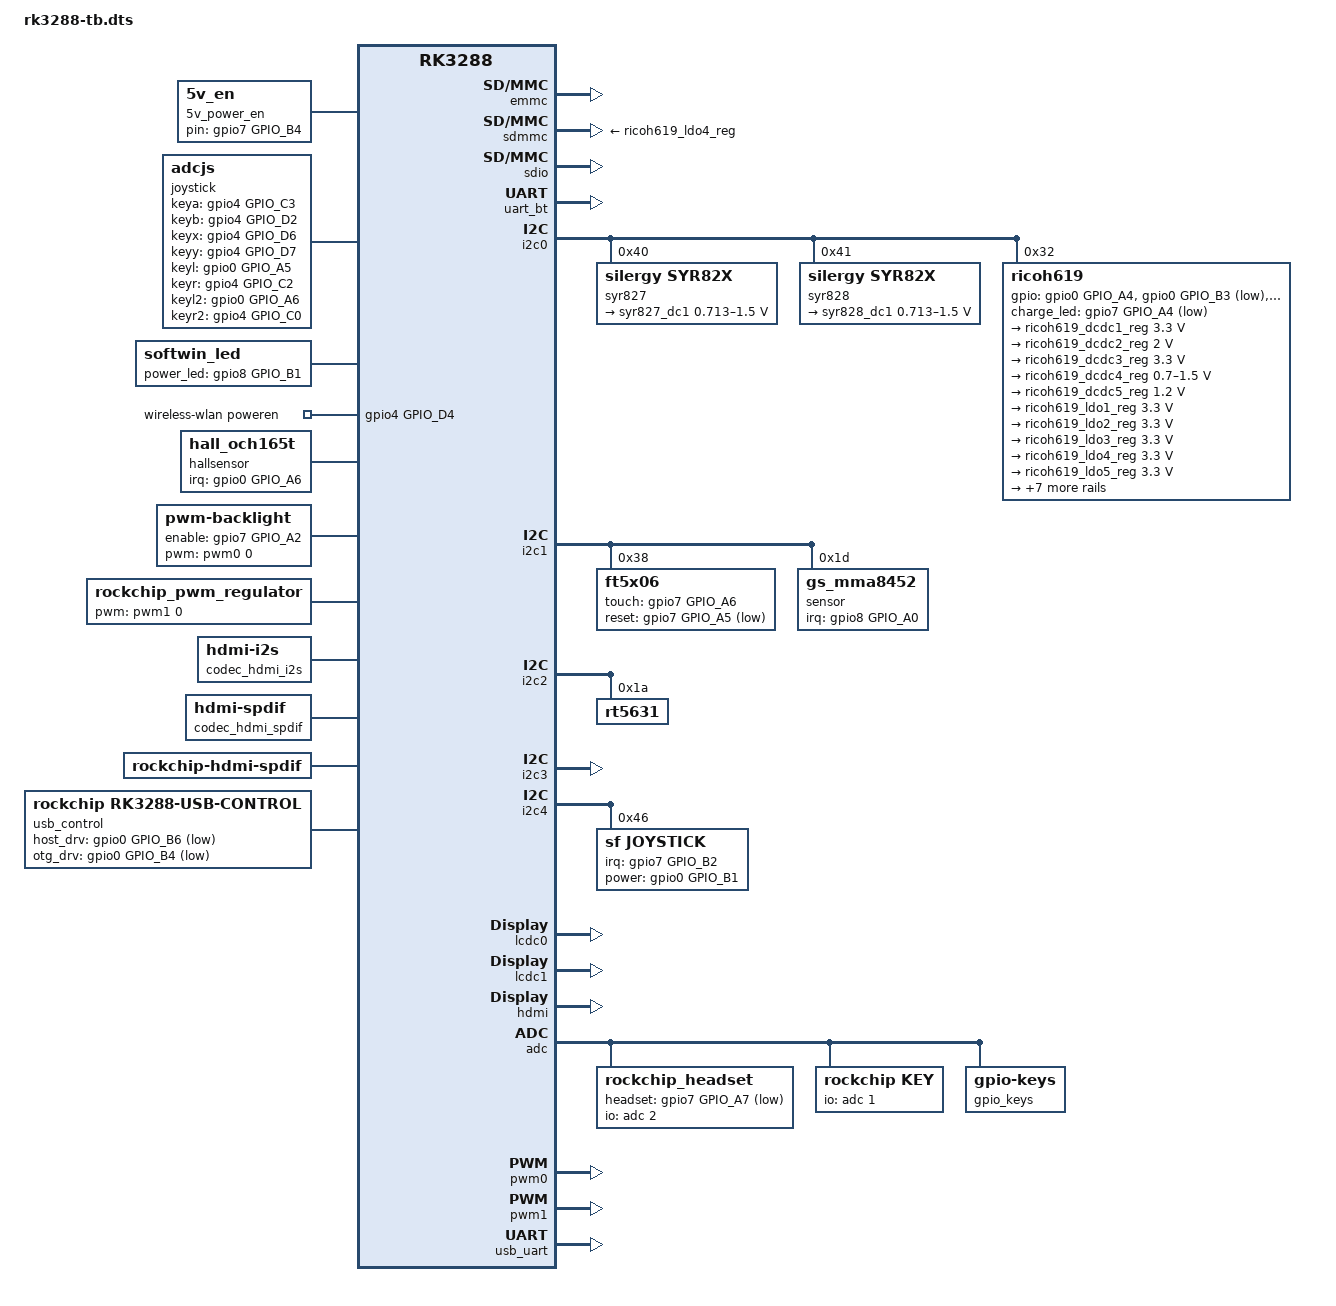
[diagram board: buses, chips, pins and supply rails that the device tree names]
/dts-v1/;

#include "rk3288.dtsi"
#include "lcd-wqxga-mipi.dtsi"

/ {
        fiq-debugger {
                status = "okay";
        };

        5v_power_en {
        compatible = "5v_en";
                5ven,pin =<&gpio7 GPIO_B4 GPIO_ACTIVE_HIGH>;    // 5v power for otg and hdmi
                status = "okay";
        };

        joystick {
        compatible = "adcjs";
                keya =<&gpio4 GPIO_C3 GPIO_ACTIVE_HIGH>;
                keyb =<&gpio4 GPIO_D2 GPIO_ACTIVE_HIGH>;
                keyx =<&gpio4 GPIO_D6 GPIO_ACTIVE_HIGH>;
                keyy =<&gpio4 GPIO_D7 GPIO_ACTIVE_HIGH>;
                keyl =<&gpio0 GPIO_A5 GPIO_ACTIVE_HIGH>;
                keyr =<&gpio4 GPIO_C2 GPIO_ACTIVE_HIGH>;
                keyl2 =<&gpio0 GPIO_A6 GPIO_ACTIVE_HIGH>;
                keyr2 =<&gpio4 GPIO_C0 GPIO_ACTIVE_HIGH>;
                left =<&gpio8 GPIO_A2 GPIO_ACTIVE_HIGH>;
                right =<&gpio8 GPIO_A1 GPIO_ACTIVE_HIGH>;
                up =<&gpio7 GPIO_B5 GPIO_ACTIVE_HIGH>;
                down =<&gpio8 GPIO_A3 GPIO_ACTIVE_HIGH>;
                keyl3 =<&gpio5 GPIO_B2 GPIO_ACTIVE_HIGH>;
                keyr3 =<&gpio5 GPIO_B3 GPIO_ACTIVE_HIGH>;
                start =<&gpio0 GPIO_A3 GPIO_ACTIVE_HIGH>;
                select =<&gpio0 GPIO_A7 GPIO_ACTIVE_HIGH>;
                //hot_key =<&gpio5 GPIO_B5 GPIO_ACTIVE_HIGH>;
                status = "okay";
        };

        led {
        compatible = "softwin_led";
                power_led =<&gpio8 GPIO_B1 GPIO_ACTIVE_HIGH>;
                status = "okay";
        };

    	wireless-wlan {
        compatible = "wlan-platdata";

        /* wifi_chip_type - wifi chip define
         * bcmwifi ==> like ap6xxx, rk90x;
         * rtkwifi ==> like rtl8188xx, rtl8723xx;
         * esp8089 ==> esp8089;
         * other   ==> for other wifi;
         */
        wifi_chip_type = "esp8089";

        sdio_vref = <3300>; //1800mv or 3300mv

        //keep_wifi_power_on;

        //power_ctrl_by_pmu;
        power_pmu_regulator = "vcc_wl";
        power_pmu_enable_level = <1>; //1->HIGH, 0->LOW

        //vref_ctrl_enable;
        //vref_ctrl_gpio = <&gpio0 GPIO_A2 GPIO_ACTIVE_HIGH>;
        vref_pmu_regulator = "vcc_wl";
        vref_pmu_enable_level = <1>; //1->HIGH, 0->LOW
        WIFI,poweren_gpio = <&gpio4 GPIO_D4 GPIO_ACTIVE_HIGH>;
        //WIFI,host_wake_irq = <&gpio4 GPIO_D6 GPIO_ACTIVE_HIGH>;
        //WIFI,reset_gpio = <&gpio0 GPIO_A2 GPIO_ACTIVE_LOW>;

        status = "okay";
    };

    wireless-bluetooth {
        compatible = "bluetooth-platdata";

        //wifi-bt-power-toggle;

        uart_rts_gpios = <&gpio4 GPIO_C3 GPIO_ACTIVE_LOW>;
        pinctrl-names = "default","rts_gpio";
        pinctrl-0 = <&uart0_rts>;
        pinctrl-1 = <&uart0_rts_gpio>;

        BT,power_gpio = <&gpio4 GPIO_D3 GPIO_ACTIVE_HIGH>;
        BT,reset_gpio = <&gpio4 GPIO_D5 GPIO_ACTIVE_HIGH>;
        BT,wake_gpio = <&gpio4 GPIO_D2 GPIO_ACTIVE_HIGH>;
        BT,wake_host_irq = <&gpio4 GPIO_D7 GPIO_ACTIVE_LOW>;

        status = "disabled";
    };

    hallsensor {
               compatible = "hall_och165t";
               type = <SENSOR_TYPE_HALL>;
               irq-gpio = <&gpio0 GPIO_A6 IRQ_TYPE_EDGE_BOTH>;
     };

	backlight {
		compatible = "pwm-backlight";
		pwms = <&pwm0 0 10000>;
                brightness-levels = <255 242 241 241 240 240
                     239 239 238 238 237 237 236 236 235 235 234 234 233 233 232 232 231 231 230 230 229 228 227 226 225 224 223 222 221 220
                     219 218 217 216 215 214 213 212 211 210 209 208 207 206 205 204 203 202 201 200
                     199 198 197 196 195 194 193 192 191 190 189 188 187 186 185 184 183 182 181 180
                     179 178 177 176 175 174 173 172 171 170 169 168 167 166 165 164 163 162 161 160
                     159 158 157 156 155 154 153 152 151 150 149 148 147 146 145 144 143 142 141 140
                     139 138 137 136 135 134 133 132 131 130 129 128 127 126 125 124 123 122 121 120
                     119 118 117 116 115 114 113 112 111 110 109 108 107 106 105 104 103 102 101 100
                     99 98 97 96 95 94 93 92 91 90 89 88 87 86 85 84 83 82 81 80 79 78 77 76 75 74 73 72 71 70
                     69 68 67 66 65 64 63 62 61 60 59 58 57 56 55 54 53 52 51 50 49 48 47 46 45 44 43 42 41 40
                     39 38 37 36 35 34 33 32 31 30 29 28 27 26 25 24 23 22 21 20 19 18 17 16 15 14 13 12 11 10
                     9 8 7 6 5 4 3 2 1 0>;
		default-brightness-level = <128>;
		enable-gpios = <&gpio7 GPIO_A2 GPIO_ACTIVE_HIGH>;
	};

	pwm_regulator {
		compatible = "rockchip_pwm_regulator";
		pwms = <&pwm1 0 2000>;
		rockchip,pwm_id= <1>;
		rockchip,pwm_voltage_map= <925000 950000 975000 1000000 1025000 1050000 1075000 1100000 1125000 1150000 1175000 1200000 1225000 1250000 1275000 1300000 1325000 1350000 1375000 1400000>;
		rockchip,pwm_voltage= <1000000>;
		rockchip,pwm_min_voltage= <925000>;
		rockchip,pwm_max_voltage= <1400000>;
		rockchip,pwm_suspend_voltage= <950000>;
		rockchip,pwm_coefficient= <475>;
		regulators {
			#address-cells = <1>;
			#size-cells = <0>;
			pwm_reg0: regulator@0 {
				regulator-compatible = "pwm_dcdc1";
				regulator-name= "vdd_logic";
				regulator-min-microvolt = <925000>;
				regulator-max-microvolt = <1400000>;
				regulator-always-on;
				regulator-boot-on;
			};
		};
	};

	codec_hdmi_i2s: codec-hdmi-i2s {
		compatible = "hdmi-i2s";
	};

	codec_hdmi_spdif: codec-hdmi-spdif {
		compatible = "hdmi-spdif";
	};

	rockchip-hdmi-i2s {
		compatible = "rockchip-hdmi-i2s";
		dais {
			dai0 {
				audio-codec = <&codec_hdmi_i2s>;
				i2s-controller = <&i2s>;
				format = "i2s";
				//continuous-clock;
				//bitclock-inversion;
				//frame-inversion;
				//bitclock-master;
				//frame-master;
			};
		};
	};
	
	rockchip-hdmi-spdif {
		compatible = "rockchip-hdmi-spdif";
		dais {
			dai0 {
				audio-codec = <&codec_hdmi_spdif>;
				i2s-controller = <&spdif>;
			};
		};
	};

	rockchip-rt5631 {
		compatible = "rockchip-rt5631";
		dais {
			dai0 {
				audio-codec = <&rt5631>;
				i2s-controller = <&i2s>;
				format = "i2s";
				//continuous-clock;
				//bitclock-inversion;
				//frame-inversion;
				//bitclock-master;
				//frame-master;
			};
		};
	};

/*	rockchip-rt3224 {
		compatible = "rockchip-rt3261";
		dais {
			dai0 {
				audio-codec = <&rt3261>;
				i2s-controller = <&i2s>;
				format = "i2s";
				//continuous-clock;
				//bitclock-inversion;
				//frame-inversion;
				//bitclock-master;
				//frame-master;
			};
			dai1 {
				audio-codec = <&rt3261>;
				i2s-controller = <&i2s>;
				format = "dsp_a";
				//continuous-clock;
				bitclock-inversion;
				//frame-inversion;
				//bitclock-master;
				//frame-master;
			};
		};
	};*/

	usb_control {
		compatible = "rockchip,rk3288-usb-control";

		host_drv_gpio = <&gpio0 GPIO_B6 GPIO_ACTIVE_LOW>;
		otg_drv_gpio = <&gpio0 GPIO_B4 GPIO_ACTIVE_LOW>;

		rockchip,remote_wakeup;
		rockchip,usb_irq_wakeup;
	};
};

&gmac {
	power_ctl_by = "gpio";	//"gpio" "pmu"
	power-gpio = <&gpio0 GPIO_A6 GPIO_ACTIVE_HIGH>;
//	power-pmu = "act_ldo"
	reset-gpio = <&gpio4 GPIO_A7 GPIO_ACTIVE_LOW>;
	status = "disabled";  //if want to use gmac, please set "okay"
};

&pinctrl {
	//used for init some gpio
	//init-gpios = <&gpio0 GPIO_A6 GPIO_ACTIVE_HIGH
	//		/*&gpio0 GPIO_C2 GPIO_ACTIVE_HIGH */
	//		/*&gpio7 GPIO_B7 GPIO_ACTIVE_LOW */>;
	
	gpio0_gpio {
			gpio0_c2: gpio0-c2 {
				rockchip,pins = <GPIO0_C2>;
				rockchip,pull = <VALUE_PULL_DOWN>;
			};

			//to add
		};
		
	gpio7_gpio {
			gpio7_b7: gpio7-b7 {
				rockchip,pins = <GPIO7_B7>;
				rockchip,pull = <VALUE_PULL_UP>;
			};

			//to add
		};
		
	//could add other pinctrl definition such as gpio

};

&nandc0 {
	status = "disabled"; // used nand set "disabled" ,used emmc set "okay"
};
&nandc1 {
	status = "disabled"; // used nand set "disabled" ,used emmc set "okay"
};   

&nandc0reg {
	status = "disabled"; // used nand set "disabled" ,used emmc set "okay"
};

&emmc {
	clock-frequency = <100000000>;
	clock-freq-min-max = <400000 100000000>;

        supports-highspeed;
	supports-emmc;
        bootpart-no-access;
	
	//supports-tSD;
	supports-DDR_MODE; //you should set the two value in your project. only close in RK3288-SDK board.
	//caps2-mmc-hs200;

        ignore-pm-notify;
	keep-power-in-suspend;
	
	//poll-hw-reset 
	status = "okay";
};
    
&sdmmc {
		clock-frequency = <50000000>;
		clock-freq-min-max = <400000 50000000>;
		supports-highspeed;
		supports-sd;
		broken-cd;
		card-detect-delay = <800>;

		ignore-pm-notify;
        	keep-power-in-suspend;
	
        	vmmc-supply = <&ricoh619_ldo4_reg>;
		status = "okay";
};
		
&sdio {
		clock-frequency = <50000000>;
		clock-freq-min-max = <200000 50000000>;
		supports-highspeed;
		supports-sdio;
		ignore-pm-notify;
		keep-power-in-suspend;
		//cap-sdio-irq;
		status = "okay";
};

&spi0 {
	status = "disable";
	max-freq = <48000000>;	
	/*
	spi_test@00 {
     		compatible = "rockchip,spi_test_bus0_cs0";
                reg = <0>;
                spi-max-frequency = <24000000>;
                //spi-cpha;
		//spi-cpol;
                poll_mode = <0>;
	        type = <0>;
		enable_dma = <0>;

	};

	spi_test@01 {
	        compatible = "rockchip,spi_test_bus0_cs1";
	        reg = <1>;
	        spi-max-frequency = <24000000>;
	        spi-cpha;
		spi-cpol;
	        poll_mode = <0>;
	        type = <0>;
		enable_dma = <0>;	        
	};
	*/
};

&spi1 {
	status = "disable";
	max-freq = <48000000>;
	/*
	spi_test@10 {
	        compatible = "rockchip,spi_test_bus1_cs0";
	        reg = <0>;
	        spi-max-frequency = <24000000>;
	        //spi-cpha;
		//spi-cpol;
	        poll_mode = <0>;
	        type = <0>;
		enable_dma = <0>;
	};

	*/
};

&spi2 {
	status = "disable";
	max-freq = <48000000>;
	/*
	spi_test@20 {
	        compatible = "rockchip,spi_test_bus2_cs0";
	        reg = <0>;
	        spi-max-frequency = <24000000>;
	        //spi-cpha;
		//spi-cpol;
	        poll_mode = <0>;
	        type = <0>;
		enable_dma = <0>;
	};

	spi_test@21 {
	        compatible = "rockchip,spi_test_bus2_cs1";
	        reg = <1>;
	        spi-max-frequency = <24000000>;
	        //spi-cpha;
		//spi-cpol;
	        poll_mode = <0>;
	        type = <0>;
		enable_dma = <0>;
	};
	*/
};

&uart_bt {
        status = "okay";
        dma-names = "!tx", "!rx";
        pinctrl-0 = <&uart0_xfer &uart0_cts>;
};

&i2c0 {
	status = "okay";
	rk808: rk808@1b {
		reg = <0x1b>;
		status = "disable";
	};
	rk818: rk818@1c {
		reg = <0x1c>;
		status = "disable";
 	};
		syr827: syr827@40 {
		compatible = "silergy,syr82x";
  	reg = <0x40>;
		status = "okay";
		regulators {
			#address-cells = <1>;
			#size-cells = <0>;	
			syr827_dc1: regulator@0 {
			reg = <0>;
			regulator-compatible = "syr82x_dcdc1";
			regulator-name = "vdd_arm";
			regulator-min-microvolt = <712500>;
			regulator-max-microvolt = <1500000>;
			regulator-always-on;
			regulator-boot-on;
			regulator-initial-mode = <0x2>;
			regulator-initial-state = <3>;
			regulator-state-mem {
				regulator-state-mode = <0x2>;
				regulator-state-disabled;
				regulator-state-uv = <900000>;
			};
		};
	   };
	};
	syr828: syr828@41 {
		compatible = "silergy,syr82x";
		reg = <0x41>;
		status = "okay";
		regulators {
			#address-cells = <1>;
			#size-cells = <0>;	
			syr828_dc1: regulator@0 {
			reg = <0>;
			regulator-compatible = "syr82x_dcdc1";
			regulator-name = "vdd_gpu";
			regulator-min-microvolt = <712500>;
			regulator-max-microvolt = <1500000>;
			regulator-always-on;
  		regulator-boot-on;
			regulator-initial-mode = <0x2>;
			regulator-initial-state = <3>;
			regulator-state-mem {
				regulator-state-mode = <0x2>;
				regulator-state-enabled;
				regulator-state-uv = <900000>;
			};	
		};
	   };
	};
	act8846: act8846@5a {
		reg = <0x5a>;
		status = "disable";
	};

	ricoh619: ricoh619@32 {
		reg = <0x32>;
 		status = "okay";
 	};
	bq24296: bq24296@6b {
		compatible = "ti,bq24296";
		reg = <0x6b>;
		gpios = <&gpio0 GPIO_A7 GPIO_ACTIVE_HIGH>,<&gpio0 GPIO_B0 GPIO_ACTIVE_HIGH>;
		bq24296,chg_current = <1000 2000 3000>;
		status = "disable";
	};
	
	bq27320: bq27320@55 {
		compatible = "ti,bq27320";
		reg = <0x55>;
	/*   gpios = <&gpio0 GPIO_A7 GPIO_ACTIVE_HIGH>; */
		status = "disable";
	};
/*
	CW2015@62 {
		compatible = "cw201x";
		reg = <0x62>;
		dc_det_gpio = <&gpio0 GPIO_B0 GPIO_ACTIVE_LOW>;
		bat_low_gpio = <&gpio0 GPIO_A7 GPIO_ACTIVE_LOW>;
		chg_ok_gpio = <&gpio0 GPIO_B1 GPIO_ACTIVE_HIGH>;
		bat_config_info = <0x15 0x42 0x60 0x59 0x52 0x58 0x4D 0x48 0x48 0x44 0x44 0x46 0x49 0x48 0x32
			0x24 0x20 0x17 0x13 0x0F 0x19 0x3E 0x51 0x45 0x08 0x76 0x0B 0x85 0x0E 0x1C 0x2E 0x3E 0x4D 0x52 0x52
			0x57 0x3D 0x1B 0x6A 0x2D 0x25 0x43 0x52 0x87 0x8F 0x91 0x94 0x52 0x82 0x8C 0x92 0x96 0xFF 0x7B 0xBB
			0xCB 0x2F 0x7D 0x72 0xA5 0xB5 0xC1 0x46 0xAE>;
		is_dc_charge = <1>;
		is_usb_charge = <0>;
	};
	
	rtc@51 {
		compatible = "rtc,hym8563";
		reg = <0x51>;
		irq_gpio = <&gpio0 GPIO_A4 IRQ_TYPE_EDGE_FALLING>;
	};
*/
};

&i2c1 {
	status = "okay";
	rtc@51 {
	        status = "disabled";
		compatible = "nxp,pcf8563";
		reg = <0x51>;
	};
        ts@40 {
                compatible = "gsl,1680e";
                reg = <0x40>;
                touch-gpio = <&gpio7 GPIO_A6 IRQ_TYPE_LEVEL_LOW>;
                reset-gpio = <&gpio7 GPIO_A5 GPIO_ACTIVE_LOW>;
                //power-gpio = <&gpio0 GPIO_C5 GPIO_ACTIVE_LOW>;
                max-x = <1280>;
                max-y = <800>;
	        status = "disabled";
       };
       ft5x06@38 {
                compatible = "ft5x06";
                reg = <0x38>;
                touch-gpio = <&gpio7 GPIO_A6 IRQ_TYPE_LEVEL_LOW>;
                reset-gpio = <&gpio7 GPIO_A5 GPIO_ACTIVE_LOW>;
                //power-gpio = <&gpio0 GPIO_C5 GPIO_ACTIVE_LOW>;
                max-x = <720>;
                max-y = <1280>;
       };
	
	sensor@1d {
		compatible = "gs_mma8452";
		reg = <0x1d>;
		type = <SENSOR_TYPE_ACCEL>;
		irq-gpio = <&gpio8 GPIO_A0 IRQ_TYPE_EDGE_FALLING>;
		irq_enable = <1>;
		poll_delay_ms = <30>;
		layout = <1>;
	};
	sensor@19 {
	        status = "disabled";
		compatible = "gs_lis3dh";
		reg = <0x19>;
		type = <SENSOR_TYPE_ACCEL>;
		irq-gpio = <&gpio0 GPIO_A0 IRQ_TYPE_LEVEL_LOW>;
		irq_enable = <1>;
		poll_delay_ms = <30>;
		layout = <1>;
	};
	sensor@0d {
	        status = "disabled";
		compatible = "ak8963";
		reg = <0x0d>;
		type = <SENSOR_TYPE_COMPASS>;
		irq-gpio = <&gpio8 GPIO_A2 IRQ_TYPE_EDGE_RISING>;
		irq_enable = <1>;
		poll_delay_ms = <30>;
		layout = <1>;
	};

	sensor@6b {
	        status = "disabled";
		compatible = "l3g20d_gyro";
		reg = <0x6b>;
		type = <SENSOR_TYPE_GYROSCOPE>;
		irq-gpio = <&gpio8 GPIO_A3 IRQ_TYPE_LEVEL_LOW>;
		irq_enable = <1>;
		poll_delay_ms = <30>;
		layout = <1>;
	};
	sensor@10 {
	      status = "disabled";
              compatible = "ls_cm3218";
              reg = <0x10>;
              type = <SENSOR_TYPE_LIGHT>;
              irq-gpio = <&gpio8 GPIO_A3 IRQ_TYPE_EDGE_FALLING>;              
              irq_enable = <1>;
              poll_delay_ms = <30>;
              layout = <1>;
       };

    nfc-bcm2079x@76 {
        compatible = "nfc-bcm2079x.ap6441";
        reg = <0x76>;
        en_gpio = <&gpio4 GPIO_D3 GPIO_ACTIVE_HIGH>;
        wake_gpio = <&gpio5 GPIO_C0 GPIO_ACTIVE_HIGH>;
        irq_gpio = <&gpio5 GPIO_B7 IRQ_TYPE_EDGE_RISING>;
        status = "disabled";
    };
    nfc-bcm2079x@77 {
        compatible = "nfc-bcm2079x.ap6493";
        reg = <0x77>;
        en_gpio = <&gpio4 GPIO_D3 GPIO_ACTIVE_HIGH>;
        wake_gpio = <&gpio5 GPIO_C0 GPIO_ACTIVE_HIGH>;
        irq_gpio = <&gpio5 GPIO_B7 IRQ_TYPE_EDGE_RISING>;
        status = "disabled";
    };
};

&i2c2 {
	status = "okay";
	rt5631: rt5631@1a {
		compatible = "rt5631";
		reg = <0x1a>;
	};
/*
	es8323: es8323@10 {
		compatible = "es8323";
		reg = <0x10>;
	};
	rt3261: rt3261@1c {
		compatible = "rt3261";
		reg = <0x1c>;
	//	codec-en-gpio = <0>;//sdk default high level
		spk-num= <2>;
		modem-input-mode = <1>;
		lout-to-modem_mode = <1>;
		spk-amplify = <2>;
		playback-if1-data_control = <0>;
		playback-if2-data_control = <0>;
	};
	rt5616: rt5616@1b {
		compatible = "rt5616";
		reg = <0x1b>;
	};*/
};

&i2c3 {
	status = "okay";
};

&i2c4 {
	status = "okay";
        sf@46 {
                compatible = "sf,joystick";
                reg = <0x46>;
                irq-gpio = <&gpio7 GPIO_B2 IRQ_TYPE_EDGE_FALLING>;
                power-gpio = <&gpio0 GPIO_B1 GPIO_ACTIVE_HIGH>;
        };

/*        ts@55 {
                compatible = "goodix,gt8xx";
                reg = <0x55>;
                touch-gpio = <&gpio7 GPIO_A6 IRQ_TYPE_LEVEL_LOW>;
                reset-gpio = <&gpio7 GPIO_A5 GPIO_ACTIVE_LOW>;
                //power-gpio = <&gpio0 GPIO_C5 GPIO_ACTIVE_LOW>;
                max-x = <1280>;
                max-y = <800>;
        };

	ts@01 {
		compatible = "ct,vtl_ts";
		reg = <0x01>;
		screen_max_x = <2048>;
		screen_max_y = <1536>;
		irq_gpio_number = <&gpio7 GPIO_A6 IRQ_TYPE_LEVEL_LOW>;
		rst_gpio_number = <&gpio7 GPIO_A5 GPIO_ACTIVE_HIGH>;
	};
*/
};

&i2c5 {
	status = "disable";
};

&fb {
	rockchip,disp-mode = <DUAL>;
	rockchip,uboot-logo-on = <1>;
};

&rk_screen {
	 display-timings = <&disp_timings>;
};

/*lcdc0 as PRMRY(LCD),lcdc1 as EXTEND(HDMI)*/
&lcdc0 {
	status = "okay";
	rockchip,mirror = <NO_MIRROR>;
	rockchip,cabc_mode = <0>;
	power_ctr: power_ctr {
		rockchip,debug = <0>;
/*
		lcd_en:lcd_en {
			rockchip,power_type = <GPIO>;
			gpios = <&gpio8 GPIO_B0 GPIO_ACTIVE_LOW>;
			rockchip,delay = <10>;
		};
*/
		
		lcd_cs:lcd_cs {
			rockchip,power_type = <GPIO>;
			gpios = <&gpio8 GPIO_A6 GPIO_ACTIVE_LOW>;
			rockchip,delay = <10>;
		};

		/*lcd_rst:lcd_rst {
			rockchip,power_type = <GPIO>;
			gpios = <&gpio3 GPIO_D6 GPIO_ACTIVE_HIGH>;
			rockchip,delay = <5>;
		};*/

	};
};

&lcdc1 {
	status = "okay";
	rockchip,mirror = <ROTATE_90>;
};

&hdmi {
	status = "okay";
	rockchips,hdmi_audio_source = <0>;
};

&adc {
	status = "okay";

	rockchip_headset {
		compatible = "rockchip_headset";
		headset_gpio = <&gpio7 GPIO_A7 GPIO_ACTIVE_LOW>;
		//pinctrl-names = "default";
		//pinctrl-0 = <&gpio0_c2>;
		io-channels = <&adc 2>; 
       /*
               hook_gpio = ;
               hook_down_type = ; //interrupt hook key down status 
		*/       
       };

	key {
		compatible = "rockchip,key";
		io-channels = <&adc 1>;

		vol-up-key {
			linux,code = <115>;
			label = "volume up";
			rockchip,adc_value = <1>;
		};

		vol-down-key {
			linux,code = <114>;
			label = "volume down";
			rockchip,adc_value = <170>;
		};
		
/*
		hallsensor_key {
			gpios = <&gpio8 GPIO_B0 GPIO_ACTIVE_LOW>;
			linux,code = <116>;
			label = "power";
			gpio-key,wakeup;
		};

		power-key {
			gpios = <&gpio0 GPIO_A5 GPIO_ACTIVE_LOW>;
			linux,code = <116>;
			label = "power";
			gpio-key,wakeup;
		};

*/
		menu-key {
			gpios = <&gpio5 GPIO_B4 GPIO_ACTIVE_LOW>;
			linux,code = <59>;
			label = "menu";
		};

		home-key {
			gpios = <&gpio5 GPIO_C0 GPIO_ACTIVE_LOW>;
			linux,code = <102>;
			label = "home";
		};

		back-key {
			gpios = <&gpio5 GPIO_B7 GPIO_ACTIVE_LOW>;
			linux,code = <158>;
			label = "back";
		};

		camera-key {
			gpios = <&gpio5 GPIO_B5 GPIO_ACTIVE_LOW>;
			linux,code = <88>;
			label = "hot_key";
		};
	};
	gpio_keys {
                compatible = "gpio-keys";
                input-name = "gpio-keys";
                status = "ok";
                hallsensor_key {
                        label = "hallsensor_key";
			gpios = <&gpio8 GPIO_B0 1>;
                        interrupts = <68 0x0>;
                        linux,input-type = <5>;
                        linux,code = <0>;
                        gpio-key,wakeup;
                        debounce-interval = <10>;
                };
	};
};


&pwm0 {
        status = "okay";
};

&pwm1 {
	status = "okay";
};


&clk_core_dvfs_table {
	operating-points = <
		/* KHz    uV */
		126000 900000
		216000 1000000
		312000 1000000
		408000 1000000
		600000 1000000
		696000 1000000
		816000 1050000
		1008000 1100000
		1200000 1100000
		1416000 1200000
		//1512000 1300000
		//1608000 1300000
		//1704000 1350000
		//1800000 1350000
		>;
	status="okay";
};

&clk_gpu_dvfs_table {
	operating-points = <
		/* KHz    uV */
		100000 850000
		200000 900000
		300000 950000
		420000 1050000
		500000 1150000
		//600000 1250000
		>;
	status="okay";
};

&clk_ddr_dvfs_table {
	operating-points = <
		/* KHz    uV */
		200000 950000
		300000 950000
		400000 1000000
		456000 1050000
		>;

	freq-table = <
		/*status		freq(KHz)*/
		SYS_STATUS_NORMAL	456000
		SYS_STATUS_SUSPEND	200000
		SYS_STATUS_VIDEO_1080P  240000
		SYS_STATUS_VIDEO_4K     400000
		SYS_STATUS_PERFORMANCE  528000
		SYS_STATUS_DUALVIEW	400000
		SYS_STATUS_BOOST	324000
		SYS_STATUS_ISP		533000
		>;
	auto-freq-table = <
		240000
		324000
		396000
		456000
		>;
	auto-freq=<0>;
	status="okay";
};
/include/ "act8846.dtsi"
&act8846 {
	gpios =<&gpio7 GPIO_A1 GPIO_ACTIVE_LOW>,<&gpio0 GPIO_B2 GPIO_ACTIVE_HIGH>;
	act8846,system-power-controller;

	regulators {
		
		dcdc1_reg: regulator@0{
			regulator-name= "act_dcdc1";
			regulator-min-microvolt = <1200000>;
			regulator-max-microvolt = <1200000>;
			regulator-always-on;
			regulator-boot-on;
		};

		dcdc2_reg: regulator@1 {
			regulator-name= "vccio";
			regulator-min-microvolt = <3300000>;
			regulator-max-microvolt = <3300000>;
			regulator-initial-state = <3>;
			regulator-state-mem {
				regulator-state-enabled;
				regulator-state-uv = <3300000>;
			};		
		};

		dcdc3_reg: regulator@2 {
			regulator-name= "vdd_logic";
			regulator-min-microvolt = <700000>;
			regulator-max-microvolt = <1500000>;
			regulator-initial-state = <3>;
			regulator-state-mem {
				regulator-state-enabled;
				regulator-state-uv = <1200000>;
			};		
		
		};

		dcdc4_reg: regulator@3 {
			regulator-name= "act_dcdc4";
			regulator-min-microvolt = <2000000>;
			regulator-max-microvolt = <2000000>;
				regulator-initial-state = <3>;
			regulator-state-mem {
				regulator-state-enabled;
				regulator-state-uv = <2000000>;
			};
		};

		ldo1_reg: regulator@4 {
			regulator-name= "vccio_sd";
			regulator-min-microvolt = <1800000>;
			regulator-max-microvolt = <3300000>;
			
		};

		ldo2_reg: regulator@5 {
			regulator-name= "act_ldo2";
			regulator-min-microvolt = <1000000>;
			regulator-max-microvolt = <1000000>;
		
		};

		ldo3_reg: regulator@6 {
			regulator-name= "act_ldo3";
			regulator-min-microvolt = <3300000>;
			regulator-max-microvolt = <3300000>;
			
		};

		ldo4_reg:regulator@7 {
			regulator-name= "act_ldo4";
			regulator-min-microvolt = <3300000>;
			regulator-max-microvolt = <3300000>;
		
		};

		ldo5_reg: regulator@8 {
			regulator-name= "act_ldo5";
			regulator-min-microvolt = <3300000>;
			regulator-max-microvolt = <3300000>;
		
		};

		ldo6_reg: regulator@9 {
			regulator-name= "act_ldo6";
			regulator-min-microvolt = <1000000>;
			regulator-max-microvolt = <1000000>;
			regulator-initial-state = <3>;
			regulator-state-mem {
				regulator-state-enabled;
			};
			
		};

		ldo7_reg: regulator@10 {
			regulator-name= "vcc_18";
			regulator-min-microvolt = <1800000>;
			regulator-max-microvolt = <1800000>;
			regulator-initial-state = <3>;
			regulator-state-mem {
				regulator-state-enabled;
			};
		
		};

		ldo8_reg: regulator@11 {
			regulator-name= "act_ldo8";
			regulator-min-microvolt = <1800000>;
			regulator-max-microvolt = <1800000>;
		
		};
	};
};


/include/ "rk808.dtsi"
&rk808 {
	gpios =<&gpio0 GPIO_A4 GPIO_ACTIVE_HIGH>,<&gpio0 GPIO_B3 GPIO_ACTIVE_LOW>;
	rk808,system-power-controller;

	regulators {
		
		rk808_dcdc1_reg: regulator@0{
			regulator-name= "vdd_arm";
			regulator-always-on;
			regulator-boot-on;
		};

		rk808_dcdc2_reg: regulator@1 {
			regulator-name= "vdd_gpu";
			//regulator-always-on;
			//regulator-boot-on;
		};

		rk808_dcdc3_reg: regulator@2 {
			regulator-name= "rk_dcdc3";
			regulator-min-microvolt = <1200000>;
			regulator-max-microvolt = <1200000>;
			regulator-always-on;
			regulator-boot-on;
		};

		rk808_dcdc4_reg: regulator@3 {
			regulator-name= "vccio";
			regulator-min-microvolt = <1800000>;
			regulator-max-microvolt = <3300000>;
			regulator-always-on;
			regulator-boot-on;
		};

		rk808_ldo1_reg: regulator@4 {
			regulator-name= "rk_ldo1";
			regulator-min-microvolt = <3300000>;
			regulator-max-microvolt = <3300000>;
			regulator-always-on;
			regulator-boot-on;
		};

		rk808_ldo2_reg: regulator@5 {
			regulator-name= "rk_ldo2";
			regulator-min-microvolt = <3300000>;
			regulator-max-microvolt = <3300000>;
			regulator-always-on;
			regulator-boot-on;
		};

		rk808_ldo3_reg: regulator@6 {
			regulator-name= "rk_ldo3";
			regulator-min-microvolt = <1000000>;
			regulator-max-microvolt = <1000000>;
			regulator-always-on;
			regulator-boot-on;
		};

		rk808_ldo4_reg:regulator@7 {
			regulator-name= "rk_ldo4";
			regulator-min-microvolt = <1800000>;
			regulator-max-microvolt = <1800000>;
			regulator-always-on;
			regulator-boot-on;
		};

		rk808_ldo5_reg: regulator@8 {
			regulator-name= "vcc_sd";
			regulator-min-microvolt = <1800000>;
			regulator-max-microvolt = <3300000>;
			regulator-always-on;
			regulator-boot-on;
		};

		rk808_ldo6_reg: regulator@9 {
			regulator-name= "rk_ldo6";
			regulator-min-microvolt = <1000000>;
			regulator-max-microvolt = <1000000>;
			regulator-always-on;
			regulator-boot-on;
		};

		rk808_ldo7_reg: regulator@10 {
			regulator-name= "rk_ldo7";
			regulator-min-microvolt = <1800000>;
			regulator-max-microvolt = <1800000>;
			regulator-always-on;
			regulator-boot-on;
		};

		rk808_ldo8_reg: regulator@11 {
			regulator-name= "rk_ldo8";
			regulator-min-microvolt = <3300000>;
			regulator-max-microvolt = <3300000>;
			regulator-always-on;
			regulator-boot-on;
		};

		rk808_ldo9_reg: regulator@12 {
			regulator-name= "rk_ldo9";
			regulator-always-on;
			regulator-boot-on;
		};

		rk808_ldo10_reg: regulator@13 {
			regulator-name= "rk_ldo10";
			regulator-always-on;
			regulator-boot-on;
		};
	};
};

/include/ "ricoh619.dtsi"
&ricoh619 {
	gpios =<&gpio0 GPIO_A4 GPIO_ACTIVE_HIGH>,<&gpio0 GPIO_B3 GPIO_ACTIVE_LOW>,<&gpio0 GPIO_B0 GPIO_ACTIVE_HIGH>;
	charge_led =<&gpio7 GPIO_A4 GPIO_ACTIVE_LOW>;
	ricoh619,system-power-controller;
	
	regulators {
		ricoh619_dcdc1_reg: regulator@0 {
			regulator-name = "vccio";
			regulator-min-microvolt = <3300000>;
			regulator-max-microvolt = <3300000>;
			regulator-initial-mode = <0x1>;
			regulator-initial-state = <3>;
			regulator-state-mem {
				regulator-state-mode = <0x1>;
				regulator-state-enabled;
				regulator-state-uv = <2800000>;
			};	
		};
		ricoh619_dcdc2_reg: regulator@1 {
			regulator-name = "ricoh619_dcdc2";
			regulator-min-microvolt = <2000000>;
			regulator-max-microvolt = <2000000>;
			regulator-initial-mode = <0x2>;
			regulator-initial-state = <3>;
			regulator-state-mem {
				regulator-state-mode = <0x2>;
				regulator-state-enabled;
				regulator-state-uv = <2000000>;
			};	
		};
		ricoh619_dcdc3_reg: regulator@2 {
			regulator-name = "vcc_lcd";
			regulator-min-microvolt = <3300000>;
			regulator-max-microvolt = <3300000>;
			regulator-initial-mode = <0x2>;
			regulator-initial-state = <3>;
			regulator-state-mem {
				regulator-state-mode = <0x2>;
				regulator-state-enabled;
				regulator-state-uv = <3300000>;
			};	
		};
		ricoh619_dcdc4_reg: regulator@3 {
			regulator-name = "vdd_logic";
			regulator-min-microvolt = <700000>;
			regulator-max-microvolt = <1500000>;
			regulator-initial-mode = <0x2>;
			regulator-initial-state = <3>;
			regulator-state-mem {
				regulator-state-mode = <0x2>;
				regulator-state-enabled;
				regulator-state-uv = <900000>;
			};	
		};
		ricoh619_dcdc5_reg: regulator@4 {
			regulator-name = "vcc_ddr";
			regulator-min-microvolt = <1200000>;
			regulator-max-microvolt = <1200000>;
			regulator-initial-mode = <0x2>;
			regulator-initial-state = <3>;
			regulator-state-mem {
				regulator-state-mode = <0x2>;
				regulator-state-enabled;
				regulator-state-uv = <1200000>;
			};	
		};
		ricoh619_ldo1_reg: regulator@5  {
			regulator-name = "vccio_pmu";
			regulator-min-microvolt = <3300000>;
			regulator-max-microvolt = <3300000>;
			regulator-initial-state = <3>;
			regulator-state-mem {
				regulator-state-enabled;
				regulator-state-uv = <3300000>;
			};	
		};
		ricoh619_ldo2_reg: regulator@6  {
			regulator-name = "ricoh619_ldo2";
			regulator-min-microvolt = <3300000>;
			regulator-max-microvolt = <3300000>;
			regulator-initial-state = <3>;
			regulator-state-mem {
				regulator-state-enabled;
				regulator-state-uv = <3300000>;
			};
		};
		ricoh619_ldo3_reg: regulator@7  {
			regulator-name = "ricoh619_ldo3";
			regulator-min-microvolt = <3300000>;
			regulator-max-microvolt = <3300000>;
			regulator-initial-state = <3>;
			regulator-state-mem {
				regulator-state-enabled;
				regulator-state-uv = <3300000>;
			};
		};
		ricoh619_ldo4_reg: regulator@8  {
			regulator-name = "vcc_sd";
			regulator-min-microvolt = <3300000>;
			regulator-max-microvolt = <3300000>;
			regulator-initial-state = <3>;
			regulator-state-mem {
				regulator-state-enabled;
				regulator-state-uv = <3300000>;
			};
		};
		ricoh619_ldo5_reg: regulator@9  {
			regulator-name = "vcc_wl";
			regulator-min-microvolt = <3300000>;
			regulator-max-microvolt = <3300000>;
			regulator-initial-state = <3>;
			regulator-state-mem {
				regulator-state-enabled;
				regulator-state-uv = <3300000>;
			};
		};
		ricoh619_ldo6_reg: regulator@10  {
			regulator-name = "ricoh619_ldo6";
			regulator-min-microvolt = <1800000>;
			regulator-max-microvolt = <1800000>;
			regulator-initial-state = <3>;
			regulator-state-mem {
				regulator-state-enabled;
				regulator-state-uv = <1800000>;
			};
		};
		ricoh619_ldo7_reg: regulator@11  {
			regulator-name = "ricoh619_ldo7";
			regulator-min-microvolt = <1000000>;
			regulator-max-microvolt = <1000000>;
			regulator-initial-state = <3>;
			regulator-state-mem {
				regulator-state-enabled;
				regulator-state-uv = <1000000>;
			};
		};
		ricoh619_ldo8_reg: regulator@12  {
			regulator-name = "ricoh619_ldo8";
			regulator-min-microvolt = <3300000>;
			regulator-max-microvolt = <3300000>;
			regulator-initial-state = <3>;
			regulator-state-mem {
				regulator-state-enabled;
				regulator-state-uv = <3300000>;
			};
		};
		ricoh619_ldo9_reg: regulator@13  {
			regulator-name = "ricoh619_ldo9";
			regulator-min-microvolt = <1000000>;
			regulator-max-microvolt = <1000000>;
			regulator-initial-state = <3>;
			regulator-state-mem {
				regulator-state-enabled;
				regulator-state-uv = <1000000>;
			};
		};
		ricoh619_ldo10_reg: regulator@14  {
			regulator-name = "vcc_18";
			regulator-min-microvolt = <1800000>;
			regulator-max-microvolt = <1800000>;
			regulator-initial-state = <3>;
			regulator-state-mem {
				regulator-state-enabled;
				regulator-state-uv = <1800000>;
			};
		};
		ricoh619_ldortc1_reg: regulator@15  {
			regulator-name = "ricoh619_ldortc1";
			regulator-min-microvolt = < 3300000>;
			regulator-max-microvolt = <3300000>;
		};
		ricoh619_ldortc2_reg: regulator@16  {
			regulator-name = "ricoh619_ldortc2";
			regulator-min-microvolt = < 3300000>;
			regulator-max-microvolt = <3300000>;
		};
	};
};
/include/ "rk818.dtsi"
&rk818 {
	gpios =<&gpio0 GPIO_A4 GPIO_ACTIVE_HIGH>,<&gpio0 GPIO_B3 GPIO_ACTIVE_LOW>;
	rk818,system-power-controller;

	regulators {
		
		rk818_dcdc1_reg: regulator@0{
			regulator-name= "vdd_logic";
			regulator-min-microvolt = <700000>;
			regulator-max-microvolt = <1500000>;
			regulator-initial-mode = <0x2>;
			regulator-initial-state = <3>;
			regulator-state-mem {
				regulator-state-mode = <0x2>;
				regulator-state-enabled;
				regulator-state-uv = <900000>;
			};		
		};

		rk818_dcdc2_reg: regulator@1 {
			regulator-name= "rk818_dcdc2";
			regulator-min-microvolt = <1200000>;
			regulator-max-microvolt = <1200000>;	
			regulator-initial-mode = <0x2>;
			regulator-initial-state = <3>;
			regulator-state-mem {
				regulator-state-mode = <0x2>;
				regulator-state-enabled;
				regulator-state-uv = <1200000>;
			};	
		};

		rk818_dcdc3_reg: regulator@2 {
			regulator-name= "rk818_dcdc3";
			regulator-min-microvolt = <1200000>;
			regulator-max-microvolt = <1200000>;
				regulator-initial-mode = <0x2>;
			regulator-initial-state = <3>;
			regulator-state-mem {
				regulator-state-mode = <0x2>;
				regulator-state-enabled;
				regulator-state-uv = <1200000>;
			};	
		};

		rk818_dcdc4_reg: regulator@3 {
			regulator-name= "vccio";
			regulator-min-microvolt = <1800000>;
			regulator-max-microvolt = <3300000>;
			regulator-initial-mode = <0x2>;
			regulator-initial-state = <3>;
			regulator-state-mem {
				regulator-state-mode = <0x2>;
				regulator-state-enabled;
				regulator-state-uv = <2800000>;
			};	
		};

		rk818_ldo1_reg: regulator@4 {
			regulator-name= "rk818_ldo1";
			regulator-min-microvolt = <3300000>;
			regulator-max-microvolt = <3300000>;
			regulator-initial-state = <3>;
			regulator-state-mem {
				regulator-state-enabled;
				regulator-state-uv = <3300000>;
			};	
		};

		rk818_ldo2_reg: regulator@5 {
			regulator-name= "rk818_ldo2";
			regulator-min-microvolt = <3300000>;
			regulator-max-microvolt = <3300000>;
			regulator-initial-state = <3>;
			regulator-state-mem {
				regulator-state-enabled;
				regulator-state-uv = <3300000>;
			};	
		};

		rk818_ldo3_reg: regulator@6 {
			regulator-name= "rk818_ldo3";
			regulator-min-microvolt = <1000000>;
			regulator-max-microvolt = <1000000>;
			regulator-initial-state = <3>;
			regulator-state-mem {
				regulator-state-enabled;
				regulator-state-uv = <1000000>;
			};	
		};

		rk818_ldo4_reg:regulator@7 {
			regulator-name= "rk818_ldo4";
			regulator-min-microvolt = <1800000>;
			regulator-max-microvolt = <1800000>;
			regulator-initial-state = <3>;
			regulator-state-mem {
				regulator-state-disabled;
				regulator-state-uv = <1800000>;
			};
		};

		rk818_ldo5_reg: regulator@8 {
			regulator-name= "rk818_ldo5";
			regulator-min-microvolt = <3300000>;
			regulator-max-microvolt = <3300000>;
			regulator-initial-state = <3>;
			regulator-state-mem {
				regulator-state-enabled;
				regulator-state-uv = <3300000>;
			};
		};

		rk818_ldo6_reg: regulator@9 {
			regulator-name= "rk818_ldo6";
			regulator-min-microvolt = <1000000>;
			regulator-max-microvolt = <1000000>;
			regulator-initial-state = <3>;
			regulator-state-mem {
				regulator-state-disabled;
				regulator-state-uv = <1000000>;
			};	
		};

		rk818_ldo7_reg: regulator@10 {
			regulator-name= "rk818_ldo7";
			regulator-min-microvolt = <1800000>;
			regulator-max-microvolt = <1800000>;
			regulator-initial-state = <3>;
			regulator-state-mem {
				regulator-state-enabled;
				regulator-state-uv = <1800000>;
			};	
		};

		rk818_ldo8_reg: regulator@11 {
			regulator-name= "rk818_ldo8";
			regulator-min-microvolt = <1800000>;
			regulator-max-microvolt = <1800000>;
			regulator-initial-state = <3>;
			regulator-state-mem {
				regulator-state-enabled;
				regulator-state-uv = <1800000>;
			};	
		};
		rk818_ldo9_reg: regulator@12 {
			regulator-name= "vcc_sd";
			regulator-min-microvolt = <1800000>;
  		regulator-max-microvolt = <3300000>;
			regulator-initial-state = <3>;
			regulator-state-mem {
				regulator-state-enabled;
				regulator-state-uv = <3300000>;
			};
		};
		rk818_ldo10_reg: regulator@13 {
			regulator-name= "rk818_ldo10";
			regulator-state-mem {
				regulator-state-disabled;
			};
		};
	};
       battery {
		ocv_table = <3350 3677 3693 3719 3752 3770 3775 3778 3785 3796 3812 3839 3881 3907 3933 3958 3978 4033 4087 4123 4174>;
		design_capacity = <2100>;
		design_qmax = <2200>;
		max_overcharge = <100>;
		max_charge_currentma = <1500>;
		max_charge_voltagemv = <4260>;
		max_bat_voltagemv = <4200>;
        };
};

&lcdc_vdd_domain {
	regulator-name = "vcc30_lcd";
	};
&dpio_vdd_domain{
	regulator-name = "vcc18_cif";	
	};
&flash0_vdd_domain{
	regulator-name = "vcc_flash";	
	};
&flash1_vdd_domain{
	regulator-name = "vcc_flash";			
	};
&apio3_vdd_domain{
	regulator-name = "vccio_wl";		
	};
&apio5_vdd_domain{
	regulator-name = "vccio";		
	};
&apio4_vdd_domain{
	regulator-name = "vccio";		
	};
&apio1_vdd_domain{
	regulator-name = "vccio";			
	};
&apio2_vdd_domain{
	regulator-name = "vccio";		
	};
&sdmmc0_vdd_domain{
	regulator-name = "vcc_sd";			
	};

&ion_cma {
       reg = <0x40000000 0x28000000>; /* 640MB */
};

&dwc_control_usb {
	usb_uart {
		status = "okay";
	};
};
